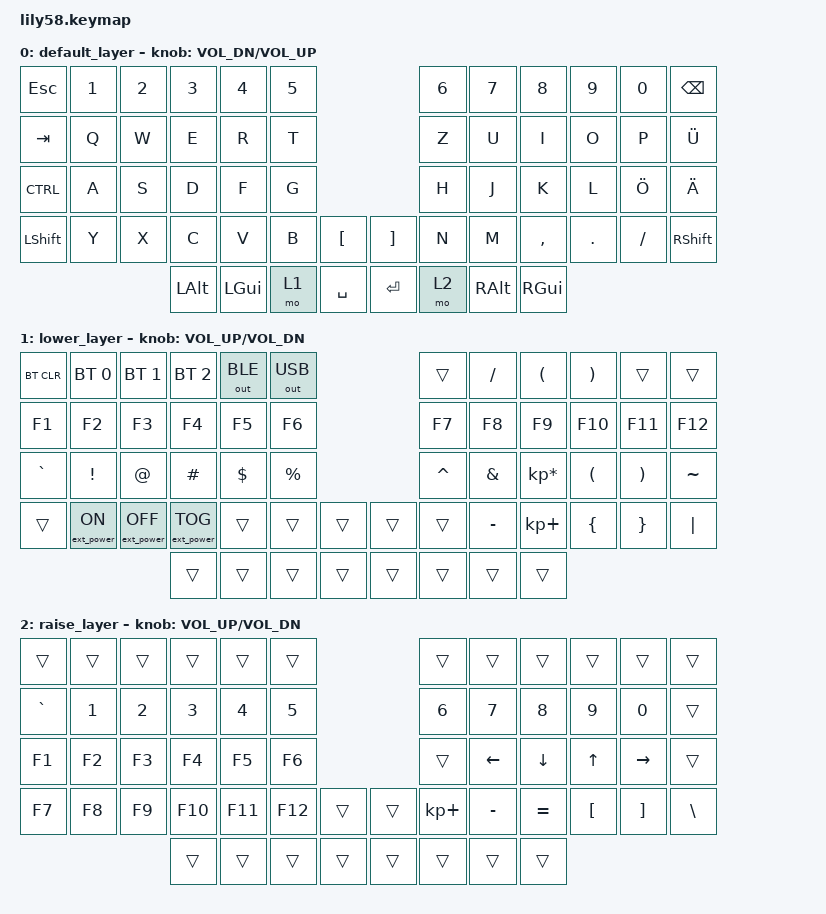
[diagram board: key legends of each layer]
/*
 * Copyright (c) 2020 The ZMK Contributors
 *
 * SPDX-License-Identifier: MIT
 */

#include <behaviors.dtsi>
#include <dt-bindings/zmk/bt.h>
#include <dt-bindings/zmk/ext_power.h>
#include <dt-bindings/zmk/keys.h>
#include <dt-bindings/zmk/outputs.h>

/ {
    keymap {
        compatible = "zmk,keymap";

        default_layer {
            // ------------------------------------------------------------------------------------------------------------
            // |  ESC  |  1  |  2  |  3   |  4   |  5   |                   |  6   |  7    |  8    |  9   |   0   |  BSPC |
            // |  TAB  |  Q  |  W  |  E   |  R   |  T   |                   |  Y   |  U    |  I    |  O   |   P   |   -   |
            // |  CTRL |  A  |  S  |  D   |  F   |  G   |                   |  H   |  J    |  K    |  L   |   ;   |   '   |
            // | SHIFT |  Z  |  X  |  C   |  V   |  B   |   "["  |  |  "]"  |  N   |  M    |  ,    |  .   |   /   | SHIFT |
            //                     | ALT  | GUI  | LOWER|  SPACE |  | ENTER | RAISE| BSPC  | GUI   |

            bindings = <
&kp ESC    &kp N1  &kp N2  &kp N3    &kp N4    &kp N5                         &kp N6  &kp N7    &kp N8     &kp N9   &kp N0    &kp BSPC
&kp TAB    &kp Q   &kp W   &kp E     &kp R     &kp T                          &kp Z   &kp U     &kp I      &kp O    &kp P     &kp Ü
&kp CTRL   &kp A   &kp S   &kp D     &kp F     &kp G                          &kp H   &kp J     &kp K      &kp L    &kp Ö     &kp Ä
&kp LSHFT  &kp Y   &kp X   &kp C     &kp V     &kp B   &kp LBKT     &kp RBKT  &kp N   &kp M     &kp COMMA  &kp DOT  &kp FSLH  &kp RSHFT
                           &kp LALT  &kp LGUI  &mo 1   &kp SPACE    &kp RET   &mo 2   &kp RALT  &kp RGUI
            >;

            sensor-bindings = <&inc_dec_kp C_VOL_DN C_VOL_UP>;
        };

        lower_layer {
            // ------------------------------------------------------------------------------------------------------------
            // | BTCLR | BT1 | BT2 |  BT3 |  OUT_BLE |  OUT_USB |                   |      |       |       |      |       |       |
            // |  F1   |  F2 |  F3 |  F4  |  F5  |  F6  |                   |  F7  |  F8   |  F9   |  F10 |  F11  |  F12  |
            // |   `   |  !  |  @  |  #   |  $   |  %   |                   |  ^   |  &    |  *    |  (   |   )   |   ~   |
            // |       |     |     |      |      |      |        |  |       |      |  _    |  +    |  {   |   }   |  "|"  |
            //                     |      |      |      |        |  |       |      |       |       |

            bindings = <
&bt BT_CLR  &bt BT_SEL 0      &bt BT_SEL 1       &bt BT_SEL 2       &out OUT_BLE  &out OUT_USB                    &trans     &kp /      &kp LPAR         &kp RPAR  &trans    &trans
&kp F1      &kp F2            &kp F3             &kp F4             &kp F5        &kp F6                          &kp F7     &kp F8     &kp F9           &kp F10   &kp F11   &kp F12
&kp GRAVE   &kp EXCL          &kp AT             &kp HASH           &kp DOLLAR    &kp PRCNT                       &kp CARET  &kp AMPS   &kp KP_MULTIPLY  &kp LPAR  &kp RPAR  &kp TILDE
&trans      &ext_power EP_ON  &ext_power EP_OFF  &ext_power EP_TOG  &trans        &trans        &trans    &trans  &trans     &kp MINUS  &kp KP_PLUS      &kp LBRC  &kp RBRC  &kp PIPE
                                                 &trans             &trans        &trans        &trans    &trans  &trans     &trans     &trans
            >;

            sensor-bindings = <&inc_dec_kp C_VOL_UP C_VOL_DN>;
        };

        raise_layer {
            // ------------------------------------------------------------------------------------------------------------
            // |       |     |     |      |      |      |                   |      |       |       |      |       |       |
            // |   `   |  1  |  2  |  3   |  4   |  5   |                   |  6   |   7   |   8   |  9   |   0   |       |
            // |   F1  |  F2 |  F3 |  F4  |  F5  |  F6  |                   |      |   <-  |   ^   |  v   |  ->   |       |
            // |   F7  |  F8 |  F9 |  F10 |  F11 |  F12 |        |  |       |  +   |   -   |   =   |  [   |   ]   |   \   |
            //                     |      |      |      |        |  |       |      |       |       |

            bindings = <
&trans     &trans  &trans  &trans   &trans   &trans                     &trans       &trans     &trans     &trans    &trans     &trans
&kp GRAVE  &kp N1  &kp N2  &kp N3   &kp N4   &kp N5                     &kp N6       &kp N7     &kp N8     &kp N9    &kp N0     &trans
&kp F1     &kp F2  &kp F3  &kp F4   &kp F5   &kp F6                     &trans       &kp LEFT   &kp DOWN   &kp UP    &kp RIGHT  &trans
&kp F7     &kp F8  &kp F9  &kp F10  &kp F11  &kp F12  &trans    &trans  &kp KP_PLUS  &kp MINUS  &kp EQUAL  &kp LBKT  &kp RBKT   &kp BSLH
                           &trans   &trans   &trans   &trans    &trans  &trans       &trans     &trans
            >;

            sensor-bindings = <&inc_dec_kp C_VOL_UP C_VOL_DN>;
	        sensor-bindings = <&inc_dec_kp C_VOL_UP C_VOL_DN>;
        };
    };
};
